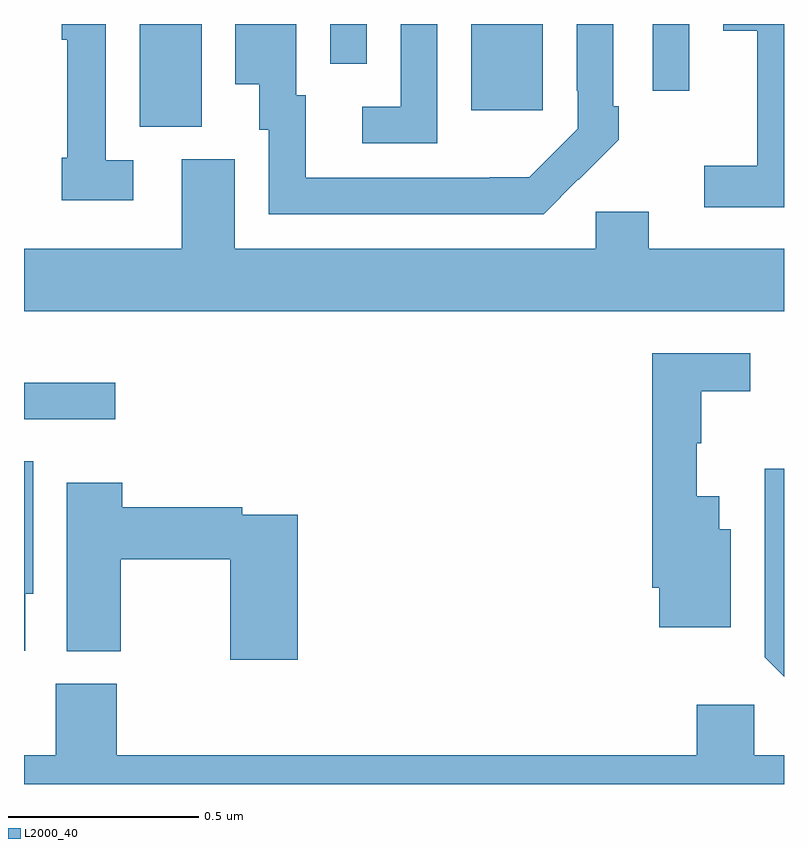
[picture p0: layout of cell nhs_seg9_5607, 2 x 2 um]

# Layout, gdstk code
import gdstk
lib = gdstk.Library(unit=1e-6, precision=1e-09)
def R(c, l, rs):  # rectangles x0, y0, x1, y1
    for r in rs: c.add(gdstk.rectangle(r[:2], r[2:], *l))
def P(c, l, *ps):  # polygons
    for p in ps: c.add(gdstk.Polygon(p, *l))
L2000_40 = (2000, 40)

nhs_seg9_5607 = lib.new_cell('nhs_seg9_5607')
R(nhs_seg9_5607, L2000_40, [(181,1205.46,181.24,1205.556), (181.304,1206.229,181.468,1206.5), (182.177,1206.273,182.365,1206.5), (182.655,1206.324,182.751,1206.5), (181.806,1206.396,181.902,1206.5)])
P(nhs_seg9_5607, L2000_40, [(182.088,1206.5),(181.992,1206.5),(181.992,1206.282),(181.89,1206.282),(181.89,1206.186),(182.088,1206.186)],
  [(182.459,1206.091),(182.46,1206.09),(182.565,1206.195),(182.565,1206.283),(182.55,1206.283),(182.55,1206.5),(182.454,1206.5),(182.454,1206.325),(182.457,1206.325),(182.457,1206.225),(182.329,1206.097),(182.225,1206.097),(182.225,1206.096),(181.741,1206.096),(181.741,1206.312),(181.717,1206.312),(181.717,1206.5),(181.556,1206.5),(181.556,1206.341),(181.619,1206.341),(181.619,1206.222),(181.644,1206.222),(181.644,1206),(182.368,1206)],
  [(183,1206.5),(182.84,1206.5),(182.84,1206.482),(182.93,1206.482),(182.93,1206.127),(182.79,1206.127),(182.79,1206.018),(183,1206.018)],
  [(181.288,1206.141),(181.215,1206.141),(181.215,1206.5),(181.099,1206.5),(181.099,1206.459),(181.114,1206.459),(181.114,1206.148),(181.099,1206.148),(181.099,1206.036),(181.288,1206.036)],
  [(183,1205.908),(182.644,1205.908),(182.644,1206.006),(182.505,1206.006),(182.505,1205.908),(181.555,1205.908),(181.555,1206.144),(181.415,1206.144),(181.415,1205.908),(181,1205.908),(181,1205.744),(183,1205.744)],
  [(182.86,1205.17),(182.83,1205.17),(182.83,1205.257),(182.771,1205.257),(182.771,1205.397),(182.782,1205.397),(182.782,1205.533),(182.911,1205.533),(182.911,1205.634),(182.653,1205.634),(182.653,1205.017),(182.672,1205.017),(182.672,1204.913),(182.86,1204.913)],
  [(181.003,1205.001),(181.024,1205.001),(181.024,1205.35),(181,1205.35),(181,1204.851),(181.003,1204.851)],
  [(183,1205.329),(182.949,1205.329),(182.949,1204.833),(183,1204.782)],
  [(181.721,1205.208),(181.574,1205.208),(181.574,1205.228),(181.259,1205.228),(181.259,1205.293),(181.112,1205.293),(181.112,1204.849),(181.254,1204.849),(181.254,1205.092),(181.543,1205.092),(181.543,1204.827),(181.721,1204.827)],
  [(183,1204.576),(182.922,1204.576),(182.922,1204.708),(182.771,1204.708),(182.771,1204.576),(181.244,1204.576),(181.244,1204.764),(181.084,1204.764),(181.084,1204.576),(181,1204.576),(181,1204.5),(183,1204.5)])

lib.write_gds('nhs_seg9_5607.gds')
